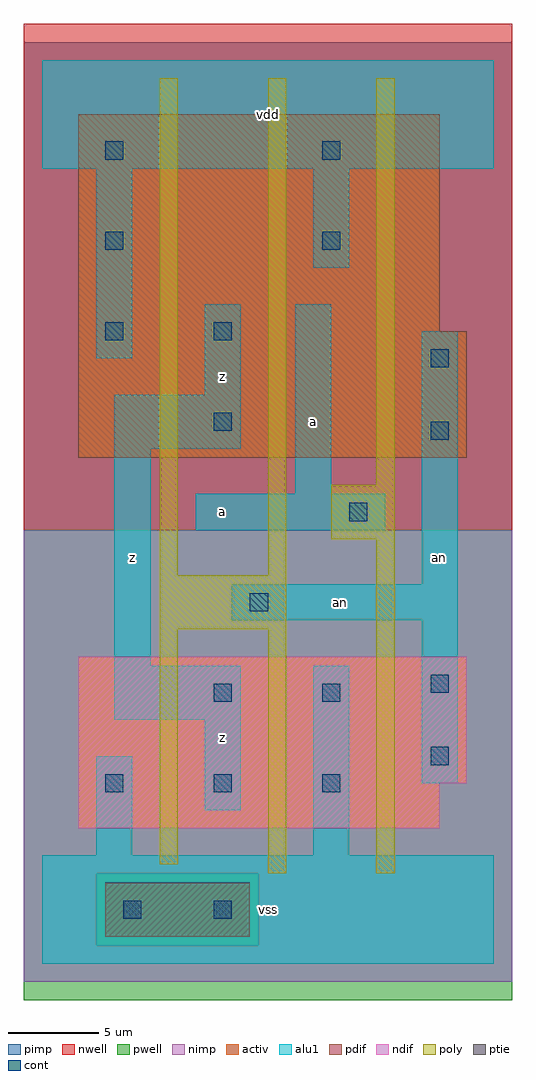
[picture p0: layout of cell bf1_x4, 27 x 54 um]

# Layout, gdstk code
import gdstk
lib = gdstk.Library(unit=1e-6, precision=1e-09)
def R(c, l, rs):  # rectangles x0, y0, x1, y1
    for r in rs: c.add(gdstk.rectangle(r[:2], r[2:], *l))
def A(c, l, x, y, w, h, nx, ny, dx, dy):  # array of equal rectangles
    R(c, l, [(x+i*dx, y+j*dy, x+i*dx+w, y+j*dy+h) for i in range(nx) for j in range(ny)])
ndif = (3, 0)
pdif = (4, 0)
ptie = (6, 0)
cont = (25, 0)
pwell = (41, 0)
nwell = (42, 0)
activ = (43, 0)
pimp = (44, 0)
nimp = (45, 0)
poly = (46, 0)
alu1 = (49, 0)

bf1_x4 = lib.new_cell('bf1_x4')
R(bf1_x4, ndif, [(2,7.5,22,10), (2,10,23.5,17)])
R(bf1_x4, pdif, [(2,28,23.5,35), (2,35,22,47)])
R(bf1_x4, ptie, [(3.5,1.5,11.5,4.5)])
A(bf1_x4, cont, 3.5, 9.5, 1, 1, 3, 1, 6, 0)
A(bf1_x4, cont, 3.5, 34.5, 1, 1, 1, 3, 0, 5)
R(bf1_x4, cont, [(4.5,2.5,5.5,3.5), (9.5,2.5,10.5,3.5), (21.5,11,22.5,12), (9.5,14.5,10.5,15.5), (15.5,14.5,16.5,15.5), (21.5,15,22.5,16), (11.5,19.5,12.5,20.5), (17,24.5,18,25.5), (21.5,29,22.5,30), (9.5,29.5,10.5,30.5), (21.5,33,22.5,34), (9.5,34.5,10.5,35.5), (15.5,39.5,16.5,40.5), (15.5,44.5,16.5,45.5)])
R(bf1_x4, pwell, [(-1,-2,26,24)])
R(bf1_x4, nwell, [(-1,24,26,52)])
R(bf1_x4, activ, [(3.5,1.5,11.5,4.5), (2,7.5,22,10), (2,10,23.5,17), (2,28,23.5,35), (2,35,22,47)])
R(bf1_x4, pimp, [(3,1,12,5), (-1,24,26,51)])
R(bf1_x4, nimp, [(-1,-1,26,1), (-1,1,3,5), (12,1,26,5), (-1,5,26,24)])
R(bf1_x4, poly, [(12.5,5,13.5,18.5), (18.5,5,19.5,23.5), (6.5,5.5,7.5,18.5), (6.5,18.5,13.5,21.5), (6.5,21.5,7.5,49), (12.5,21.5,13.5,49), (16,23.5,19.5,26.5), (18.5,26.5,19.5,49)])
R(bf1_x4, alu1, [(0,0,25,6), (3,6,5,11.5), (15,6,17,16.5), (9,8.5,11,13.5), (21,10,23,19), (4,13.5,11,16.5), (4,16.5,6,28.5), (10.5,19,23,21), (21,21,23,35), (8.5,24,19,26), (14,26,16,36.5), (4,28.5,11,31.5), (9,31.5,11,36.5), (3,33.5,5,44), (15,38.5,17,44), (0,44,25,50)])
bf1_x4.add(gdstk.Label('z', (10,12.5), layer=49, texttype=0))
bf1_x4.add(gdstk.Label('z', (5,22.5), layer=49, texttype=0))
bf1_x4.add(gdstk.Label('a', (10,25), layer=49, texttype=0))
bf1_x4.add(gdstk.Label('z', (10,32.5), layer=49, texttype=0))
bf1_x4.add(gdstk.Label('vss', (12.5,3), layer=49, texttype=0))
bf1_x4.add(gdstk.Label('a', (15,30), layer=49, texttype=0))
bf1_x4.add(gdstk.Label('vdd', (12.5,47), layer=49, texttype=0))
bf1_x4.add(gdstk.Label('an', (16.5,20), layer=49, texttype=0))
bf1_x4.add(gdstk.Label('an', (22,22.5), layer=49, texttype=0))

lib.write_gds('bf1_x4.gds')
